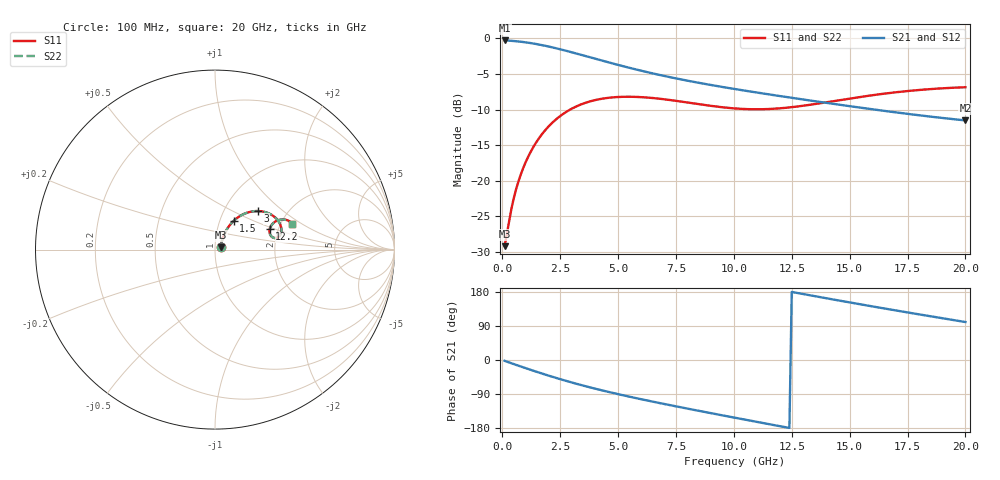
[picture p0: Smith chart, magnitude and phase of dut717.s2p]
! Touchstone file exported from HFSS 2024.1.0
!  File:  C:/UserFiles/LocalFiles/RDL_TSV_Batchsim/temp_RDL_TSV_717_1779889635.aedt
!  Generated:  10:06:26 PM May 27, 2026
!  Design:  RDL_TSV
!  Project:  temp_RDL_TSV_717_1779889635
!  Setup:  Setup1
!  Solution:  Sweep
! Variables:
!  dtsv = 7.12um
!  hbump = 3um
!  htsv = 55.77um
!  ldown = 621.71um
!  lrdl = 563.65um
!  p = 40
!  p1 = 55.98um
!  rhole = 10um
!  subl = 4119.73um
!  t = 450um
!  tdown = 2.49um
!  trdl = 3.07um
!  viad = 10um
!  wdown = 17.18um
!  wrdl = 15.63um
!  xbump = 18um
# GHz S MA R 50.000000
! Terminal data exported
! Port[1] = TM1_1_T1
! Port[2] = TM1_4_T1
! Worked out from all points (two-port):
!   200 points, 100 MHz to 20 GHz, reference 50 ohm
!   highest |S21| = -0.28 dB at 100 MHz (marker M1); lowest = -11.5 dB at 20 GHz (marker M2)
!   |S21| within 3 dB of the highest: start of sweep to 4.501 GHz
!   lowest |S11| = -29.2 dB at 100 MHz (marker M3), VSWR 1.07, Z = 53.3 + j1.42 ohm
!   |S11| at or under -10 dB: start of sweep to 2.923 GHz
!   |S22| runs from -29.2 to -6.9 dB; largest |S21 - S12| = 1.5e-14
!   S11 on the Smith chart (normalised r, x): 100 MHz: 1.07, +0.03; 1.5 GHz: 1.16, +0.38; 3 GHz: 1.43, +0.69; 12.2 GHz: 1.80, +0.46; 20 GHz: 2.30, +0.84
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0.1  0.03479 22.5  0.9679 -2.2  0.9679 -2.2  0.03479 22.5
! Gamma 0 0 0 0
! Port Impedance 50 0 50 0
0.4  0.06438 52.4  0.9622 -8.7  0.9622 -8.7  0.06438 52.4
0.5  0.07598 55.6  0.9593 -10.9  0.9593 -10.9  0.07597 55.6
0.7  0.09937 58.7  0.9524 -15.1  0.9524 -15.1  0.09937 58.7
1.1  0.1457 59.4  0.9345 -23.4  0.9345 -23.4  0.1457 59.4
1.5  0.1901 57.1  0.9116 -31.5  0.9116 -31.5  0.1901 57.1
2.2  0.2596 50.5  0.8627 -45.0  0.8627 -45.0  0.2597 50.5
2.6  0.2931 46.2  0.8316 -52.3  0.8316 -52.3  0.2931 46.3
3  0.3213 41.9  0.7996 -59.3  0.7996 -59.3  0.3213 42.0
3.5  0.349 36.7  0.7598 -67.7  0.7598 -67.7  0.3491 36.7
4.3  0.3772 29.2  0.6995 -80.1  0.6995 -80.1  0.3773 29.2
5.1  0.3887 22.8  0.6455 -91.5  0.6455 -91.5  0.3889 22.8
5.9  0.3879 17.7  0.5987 -102.2  0.5987 -102.2  0.3881 17.7
6.8  0.3772 13.6  0.5539 -113.7  0.5539 -113.7  0.3774 13.7
8.4  0.3473 10.8  0.4909 -133.1  0.4909 -133.1  0.3476 10.8
10.1  0.322 13.4  0.4398 -153.0  0.4398 -153.0  0.3224 13.4
12.2  0.3253 20.5  0.3894 -177.0  0.3894 -177.0  0.3258 20.4
13.4  0.3442 23.6  0.3644 169.5  0.3644 169.5  0.3445 23.5
15  0.3781 25.0  0.3346 151.9  0.3346 151.9  0.3785 25.0
16.7  0.4134 24.0  0.3069 133.8  0.3069 133.8  0.4136 23.9
18.3  0.4386 21.6  0.2849 117.3  0.2849 117.3  0.4388 21.5
20  0.4543 18.6  0.2657 100.2  0.2657 100.2  0.4544 18.5
